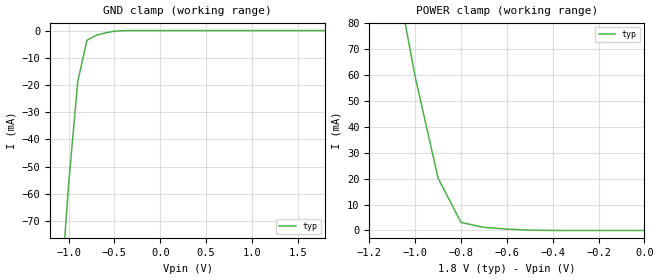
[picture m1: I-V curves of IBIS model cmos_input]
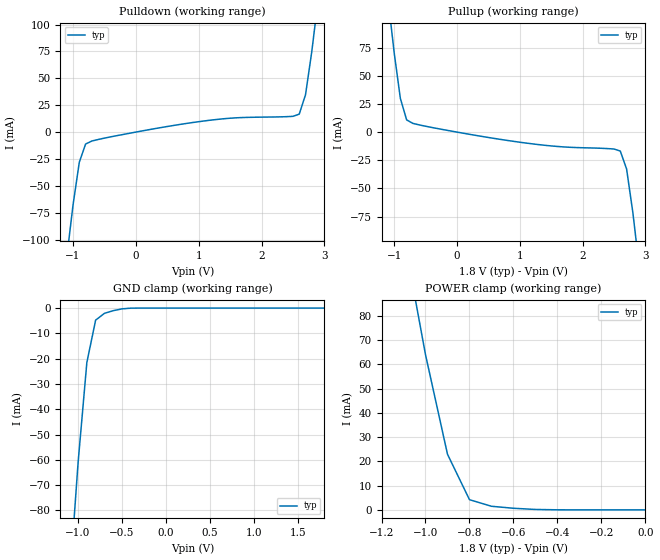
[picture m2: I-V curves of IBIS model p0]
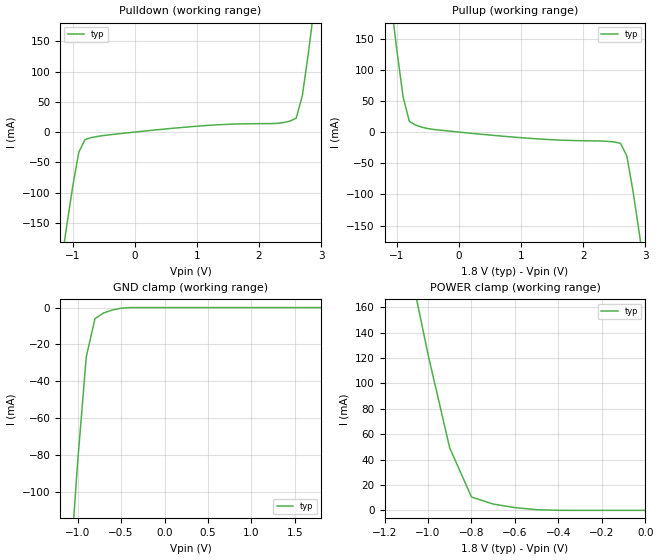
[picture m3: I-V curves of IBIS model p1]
|   This file is an IBIS representation of the   |
|   analog devices   |
|   AD9361   |
|=================== Header Section -------------------------------------------|
[IBIS Ver]  3.2
[File Name] ad9361_1p8_cmos_r2.ibs
[File Rev]  1.0
[Source]   This file originated at Analog Devices.
[Date]   10-31-2011
[Notes]   Quality Check Passes IBIS Checker.
[Disclaimer]
|   This IBIS model is provided "AS IS, Where IS, AND WITH NO
|   WARRANTY OF ANY KINND EITHER EXPRESSED OR IMPLIED, INCLUDING
|   BUT NOT LIMITED TO ANY IMPLIED WARRANTIES OF MECHANTABILITY
|   AND FITNESS FOR A PARTICULAR PURPOSE."
|   In no event will Analog Devices be liable for special, colloateral,
|   incidental, or consequential damages in connection with or
|   arising out of the use of this IBIS model. Analog Devices reserves
|   the right to make changes to the products and IBIS models without
|   prior notice.
[Copyright]   copyright (c)2010 Analog Devices, All rights reserved.
[Component] AD9361
[Manufacturer] Analog Devices
[Package]
|Variable typ   min   max
R_pkg  0.350ohms   NA   NA
L_pkg  2.0nH   NA   NA
C_pkg  .50pF   NA   NA
[Pin]   signal_name   model_name   R_pin   L_pin   C_pin
A1   RX2A_N   NC   NA   NA   NA
A2   RX2A_P   NC   NA   NA   NA
A3   RX2_SA_LNA_OUT   NC   NA   NA   NA
A4   RX2_SA_LNA_IN   NC   NA   NA   NA
A5   TX_MON2   NC   NA   NA   NA
A6   VSSA   NC   NA   NA   NA
A7   TX2A_N   NC   NA   NA   NA
A8   TX2A_P   NC   NA   NA   NA
A9   TX2B_N   NC   NA   NA   NA
A10   TX2B_P   NC   NA   NA   NA
A11   VDDA1P1_TX_VCO   NC   NA   NA   NA
A12   TX_EXT_LO_IN   NC   NA   NA   NA
B1   VSSA   GND   NA   NA   NA
B2   VSSA   GND   NA   NA   NA
B3   AUXDAC1   NC   NA   NA   NA
B4   GPO_3   GPO   NA   NA   NA
B5   GPO_2   GPO   NA   NA   NA
B6   GPO_1   GPO   NA   NA   NA
B7   GPO_0   GPO   NA   NA   NA
B8   VDDA_GPO   POWER   NA   NA   NA
B9   VDDA1P3_TX_LO   POWER   NA   NA   NA
B10   VDDA1P3_TX_VCO_LDO   POWER   NA   NA   NA
B11   TX_VCO_LDO_OUT   NC   NA   NA   NA
B12   VSSA   GND   NA   NA   NA
C1   RX2C_P   NC   NA   NA   NA
C2   VSSA   GND   NA   NA   NA
C3   AUXDAC2   NC   NA   NA   NA
C4   TEST/ENABLE   cmos_input   NA   NA   NA
C5   CTRL_IN0   cmos_input   NA   NA   NA
C6   CTRL_IN1   cmos_input   NA   NA   NA
C7   VSSA   GND   NA   NA   NA
C8   VSSA   GND   NA   NA   NA
C9   VSSA   GND   NA   NA   NA
C10   VSSA   GND   NA   NA   NA
C11   VSSA   GND   NA   NA   NA
C12   VSSA   GND   NA   NA   NA
D1   RX2C_N   NC   NA   NA   NA
D2   VDDA1P3_RX_RF   POWER   NA   NA   NA
D3   VDDA1P3_RX_TX   POWER   NA   NA   NA
D4   CTRL_OUT0   cmos_output   NA   NA   NA
D5   CTRL_IN3   cmos_input   NA   NA   NA
D6   CTRL_IN2   cmos_input   NA   NA   NA
D7   P0_D9-TX_D4_P   p0   NA   NA   NA
D8   P0_D7-TX_D3_P   p0   NA   NA   NA
D9   P0_D5-TX_D2_P   p0   NA   NA   NA
D10   P0_D3-TX_D1_P   p0   NA   NA   NA
D11   P0_D1-TX_D0_P   p0   NA   NA   NA
D12   VSSD   GND   NA   NA   NA
E1   RX2B_P   NC   NA   NA   NA
E2   VDDA1P3_RX_LO   NC   NA   NA   NA
E3   VDDA1P3_TX_LO_BUFFER  POWER   NA   NA   NA
E4   CTRL_OUT1   cmos_output   NA   NA   NA
E5   CTRL_OUT2   cmos_output   NA   NA   NA
E6   CTRL_OUT3   cmos_output   NA   NA   NA
E7   P0_D11-TX_D5_P   p0   NA   NA   NA
E8   P0_D8-TX_D4_N   p0   NA   NA   NA
E9   P0_D6-TX_D3_N   p0   NA   NA   NA
E10   P0_D4-TX_D2_N   p0   NA   NA   NA
E11   P0_D2-TX_D1_N   p0   NA   NA   NA
E12   P0_D0-TX_D0_N   p0   NA   NA   NA
F1   RX2B_N   NC   NA   NA   NA
F2   VDDA1P3_RX_VCO_LDO   POWER   NA   NA   NA
F3   VSSA   GND   NA   NA   NA
F4   CTRL_OUT6   cmos_output   NA   NA   NA
F5   CTRL_OUT5   cmos_output   NA   NA   NA
F6   CTRL_OUT4   cmos_output   NA   NA   NA
F7   VSSD   GND   NA   NA   NA
F8   P0_D10-TX_D5_N   p0   NA   NA   NA
F9   VSSD   GND   NA   NA   NA
F10   FB_CLK_P   cmos_input   NA   NA   NA
F11   VSSD   GND   NA   NA   NA
F12   VDDD1P3_DIG   POWER   NA   NA   NA
G1   RX_EXT_LO_IN   NC   NA   NA   NA
G2   RX_VCO_LDO_OUT   NC   NA   NA   NA
G3   VDDA1P1_RX_VCO   NC   NA   NA   NA
G4   CTRL_OUT7   cmos_output   NA   NA   NA
G5   EN_AGC   cmos_input   NA   NA   NA
G6   ENABLE   cmos_input   NA   NA   NA
G7   RX_FRAME_N   cmos_output   NA   NA   NA
G8   RX_FRAME_P   cmos_output   NA   NA   NA
G9   TX_FRAME_P   cmos_input   NA   NA   NA
G10   FB_CLK_N   cmos_input   NA   NA   NA
G11   DATA_CLK_P   cmos_output   NA   NA   NA
G12   VSSD   GND   NA   NA   NA
H1   RX1B_P   NC   NA   NA   NA
H2   VSSA   GND   NA   NA   NA
H3   VSSA   GND   NA   NA   NA
H4   TXNRX   cmos_input   NA   NA   NA
H5   SYNC_IN   cmos_input   NA   NA   NA
H6   REF_CLK_IN   NC   NA   NA   NA
H7   VSSD   NC   NA   NA   NA
H8   P1_D11-RX_D5_P   p1   NA   NA   NA
H9   TX_FRAME_N   cmos_input   NA   NA   NA
H10   VSSD   GND   NA   NA   NA
H11   DATA_CLK_N   cmos_output   NA   NA   NA
H12   VDD_INTERFACE   POWER   NA   NA   NA
J1   RX1B_N   NC   NA   NA   NA
J2   VSSA   GND   NA   NA   NA
J3   VDDA1P3_RX_SYNTH   POWER   NA   NA   NA
J4   SPI_DI   cmos_bidir   NA   NA   NA
J5   SPI_CLK   cmos_input   NA   NA   NA
J6   CLK_OUT   cmos_output   NA   NA   NA
J7   P1_D10-RX_D5_N   p1   NA   NA   NA
J8   P1_D9-RX_D4_P   p1   NA   NA   NA
J9   P1_D7-RX_D3_P   p1   NA   NA   NA
J10   P1_D5-RX_D2_P   p1   NA   NA   NA
J11   P1_D3-RX_D1_P   p1   NA   NA   NA
J12   P1_D1-RX_D0_P   p1   NA   NA   NA
K1   RX1C_P   NC   NA   NA   NA
K2   VSSA   GND   NA   NA   NA
K3   VDDA1P3_TX_SYNTH   POWER   NA   NA   NA
K4   VDDA1P3_BB   POWER   NA   NA   NA
K5   RESETB   cmos_input   NA   NA   NA
K6   SPI_ENB   cmos_input   NA   NA   NA
K7   P1_D8-RX_D4_N   p1   NA   NA   NA
K8   P1_D6-RX_D3_N   p1   NA   NA   NA
K9   P1_D4-RX_D2_N   p1   NA   NA   NA
K10   P1_D2-RX_D1_N   p1   NA   NA   NA
K11   P1_D0-RX_D0_N   p1   NA   NA   NA
K12   VSSD   GND   NA   NA   NA
L1   RX1C_N   NC   NA   NA   NA
L2   VSSA   GND   NA   NA   NA
L3   VSSA   GND   NA   NA   NA
L4   RBIAS   NC   NA   NA   NA
L5   AUXADC   NC   NA   NA   NA
L6   SPI_DO   cmos_out_3st   NA   NA   NA
L7   VSSA   GND   NA   NA   NA
L8   VSSA   GND   NA   NA   NA
L9   VSSA   GND   NA   NA   NA
L10   VSSA   GND   NA   NA   NA
L11   VSSA   GND   NA   NA   NA
L12   VSSA   GND   NA   NA   NA
M1   RX1A_P   NC   NA   NA   NA
M2   RX1A_N   NC   NA   NA   NA
M3   RX1_SA_LNA_OUT   NC   NA   NA   NA
M4   RX1_SA_LNA_IN   NC   NA   NA   NA
M5   TX_MON1   NC   NA   NA   NA
M6   VSSA   GND   NA   NA   NA
M7   TX1A_P   NC   NA   NA   NA
M8   TX1A_N   NC   NA   NA   NA
M9   TX1B_P   NC   NA   NA   NA
M10   TX1B_N   NC   NA   NA   NA
M11   XTALP   NC   NA   NA   NA
M12   XTALN   NC   NA   NA   NA
| Models and submodels in the file (7): cmos_input (Input), p0 (Input), p1 (I/O), cmos_out_3st (3-state), cmos_output (Output), cmos_bidir (I/O), GPO (3-state)
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|   Note: V-I curves for all models are truncated
|   if the current exceeds ~200mA
[Model] cmos_input
Model_type Input
Vinl = 0.63
Vinh = 1.17
|   typ   min   max
C_comp  4pF   NA   NA
|   typ   min   max
[Voltage Range]   1.800V  NA   NA
[GND Clamp Reference]   0.000V  NA   NA
[POWER Clamp Reference] 1.800V  NA   NA
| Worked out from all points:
|   GND clamp passes 1 mA (typ) near -0.62 V on its own axis
|   POWER clamp passes 1 mA (typ) near -0.67 V on its own axis
[GND Clamp]
| Voltage  I(typ)   I(min)  I(max)
-1.8V     -472.8mA   NA         NA
-1.1V     -103.1mA   NA         NA
-1V       -56.47mA   NA         NA
-900mV    -18.66mA   NA         NA
-800mV    -3.584mA   NA         NA
-700mV    -1.725mA   NA         NA
-500mV    -242.9uA   NA         NA
-400mV    -23.56uA   NA         NA
1.8V      60pA       NA         NA
[POWER Clamp]
-1.8V     477.8mA    NA         NA
-1.1V     106.5mA    NA         NA
-1V       59.26mA    NA         NA
-900mV    20.15mA    NA         NA
-800mV    3.092mA    NA         NA
-700mV    1.208mA    NA         NA
-500mV    127uA      NA         NA
0V        60pA       NA         NA
[model] p0
Model_type Input
Vinl = 0.63
Vinh = 1.17
Vmeas =   1.5V
Cref  =   3.000pF
Rref  =   10kOhm
Vref  =   1.8V
C_comp 4pF NA NA
| variable   typ   min   max
[Voltage Range]   1.800V  NA   NA
[GND Clamp Reference]   0.000V  NA   NA
[POWER Clamp Reference] 1.800V  NA   NA
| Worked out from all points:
|   slope of the pulldown table from 0 to 0.27 V, typ, clamps not added: 93.9 ohm
|   slope of the pullup table from 0 to 0.27 V, typ, clamps not added: 102 ohm
|   GND clamp passes 1 mA (typ) near -0.60 V on its own axis
|   POWER clamp passes 1 mA (typ) near -0.64 V on its own axis
[GND Clamp]
| Voltage  I(typ)   I(min)  I(max)
-1.8V     -495.9mA   NA         NA
-1.1V     -110.2mA   NA         NA
-1V       -61.38mA   NA         NA
-900mV    -21.55mA   NA         NA
-800mV    -4.757mA   NA         NA
-700mV    -2.081mA   NA         NA
-500mV    -309.3uA   NA         NA
-400mV    -32.46uA   NA         NA
1.8V      90pA       NA         NA
[POWER Clamp]
| Voltage  I(typ)   I(min)  I(max)
-1.8V     500.7mA    NA         NA
-1.1V     113.4mA    NA         NA
-1V       64.07mA    NA         NA
-900mV    22.95mA    NA         NA
-800mV    4.199mA    NA         NA
-700mV    1.478mA    NA         NA
-600mV    656.2uA    NA         NA
-400mV    15.82uA    NA         NA
0V        90pA       NA         NA
[Pulldown]
| Voltage  I(typ)   I(min)  I(max)
-1.8V     -500.7mA   NA         NA
-1.1V     -116.7mA   NA         NA
-1V       -67.95mA   NA         NA
-900mV    -28.06mA   NA         NA
-800mV    -11.16mA   NA         NA
-400mV    -4.406mA   NA         NA
1V        9.681mA    NA         NA
2.6V      16.71mA    NA         NA
2.7V      34.73mA    NA         NA
2.8V      74.97mA    NA         NA
2.9V      123.2mA    NA         NA
3.6V      466.6mA    NA         NA
[Pullup]
| Voltage  I(typ)   I(min)  I(max)
-1.8V     505.4mA    NA         NA
-1.1V     120.5mA    NA         NA
-1V       71.18mA    NA         NA
-900mV    29.88mA    NA         NA
-800mV    10.82mA    NA         NA
-500mV    5.209mA    NA         NA
900mV     -8.208mA   NA         NA
2.6V      -16.87mA   NA         NA
2.7V      -32.73mA   NA         NA
2.8V      -71.58mA   NA         NA
2.9V      -119.3mA   NA         NA
3.6V      -500.6mA   NA         NA
[Ramp]
|   typ   min   max
dV/dt_r   1.18V/.291195ns   NA   NA
dV/dt_f   1.18V/.290123ns   NA   NA
R_load=10k
|--end p0 model---------------------------------
[model] p1
Model_type I/O
Vinl = 0.63
Vinh = 1.17
Vmeas =   1.5V
Cref  =   3.000pF
Rref  =   10kohm
Vref  =   1.8V
C_comp 4pF NA NA
| variable   typ   min   max
[Voltage Range]   1.800V  NA   NA
[GND Clamp Reference]   0.000V  NA   NA
[POWER Clamp Reference] 1.800V  NA   NA
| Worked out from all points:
|   slope of the pulldown table from 0 to 0.27 V, typ, clamps not added: 93.9 ohm
|   slope of the pullup table from 0 to 0.27 V, typ, clamps not added: 102 ohm
|   GND clamp passes 1 mA (typ) near -0.57 V on its own axis
|   POWER clamp passes 1 mA (typ) near -0.53 V on its own axis
[GND Clamp]
| Voltage  I(typ)   I(min)  I(max)
-1.8V     -671.9mA   NA         NA
-1.1V     -152.5mA   NA         NA
-1V       -84.63mA   NA         NA
-900mV    -26.86mA   NA         NA
-800mV    -6.037mA   NA         NA
-700mV    -2.928mA   NA         NA
-500mV    -347.2uA   NA         NA
-400mV    -31.55uA   NA         NA
1.8V      60pA       NA         NA
[POWER Clamp]
| Voltage  I(typ)   I(min)  I(max)
-1.8V     841.6mA    NA         NA
-1.1V     205.6mA    NA         NA
-1V       122.9mA    NA         NA
-900mV    49.04mA    NA         NA
-800mV    10.54mA    NA         NA
-700mV    4.965mA    NA         NA
-600mV    2.149mA    NA         NA
-500mV    514.3uA    NA         NA
0V        60pA       NA         NA
[Pulldown]
| Voltage  I(typ)   I(min)  I(max)
-1.8V     -676.7mA   NA         NA
-1.2V     -230.2mA   NA         NA
-1.1V     -159.1mA   NA         NA
-900mV    -33.37mA   NA         NA
-800mV    -12.44mA   NA         NA
700mV     7.098mA    NA         NA
2.5V      18.13mA    NA         NA
2.6V      23.05mA    NA         NA
2.7V      60.81mA    NA         NA
2.8V      133.8mA    NA         NA
2.9V      215.5mA    NA         NA
3.6V      845.4mA    NA         NA
[Pullup]
| Voltage  I(typ)   I(min)  I(max)
-1.8V     846.3mA    NA         NA
-1.1V     212.7mA    NA         NA
-1V       130mA      NA         NA
-900mV    55.96mA    NA         NA
-800mV    17.16mA    NA         NA
-300mV    3.048mA    NA         NA
2.6V      -18.15mA   NA         NA
2.7V      -38.04mA   NA         NA
2.8V      -94.83mA   NA         NA
2.9V      -161.6mA   NA         NA
3V        -231.8mA   NA         NA
3.6V      -676.6mA   NA         NA
[Ramp]
|   typ   min   max
dV/dt_r   1.18V/.199275ns   NA   NA
dV/dt_f   1.18V/.195639ns   NA   NA
R_load=10k
|--end p1 model---------------------------------
